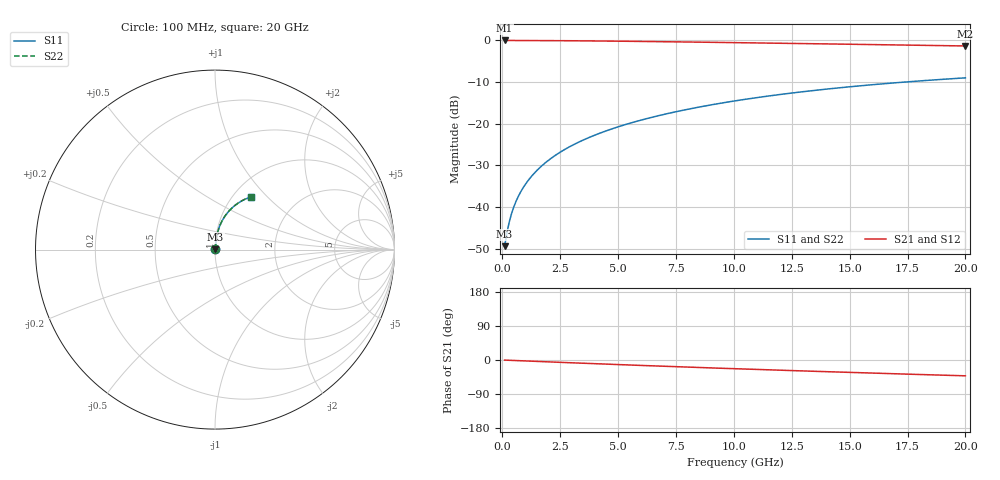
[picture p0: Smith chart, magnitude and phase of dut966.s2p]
! Touchstone file exported from HFSS 2024.1.0
!  File:  C:/UserFiles/LocalFiles/RDL_TSV_Batchsim/temp_RDL_top_966_1779938640.aedt
!  Generated:  11:26:10 AM May 28, 2026
!  Design:  RDL_top
!  Project:  temp_RDL_top_966_1779938640
!  Setup:  Setup1
!  Solution:  Sweep
! Variables:
!  dtsv = 10.80580581um
!  hbump = 3um
!  htsv = 94.21um
!  ldown = 100um
!  lrdl = 628.21um
!  p = 40
!  p1 = 42.68um
!  rhole = 1um
!  t = 450um
!  tdown = 3.915915916um
!  trdl = 4.5um
!  wdown = 15.38538539um
!  wrdl = 19.19um
# GHz S MA R 50.000000
! Terminal data exported
! Port[1] = Box2_T1
! Port[2] = Box2_T2
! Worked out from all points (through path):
!   200 points, 100 MHz to 20 GHz, reference 50 ohm
!   highest |S21| = -0.02 dB at 100 MHz (marker M1); lowest = -1.3 dB at 20 GHz (marker M2)
!   group delay of S21, straight-line fit = 5.76 ps
!   lowest |S11| = -49.4 dB at 100 MHz (marker M3), VSWR 1.01, Z = 50.3 + j0.202 ohm
!   |S11| at or under -10 dB: start of sweep to 17.4 GHz
!   |S22| runs from -49.4 to -9.0 dB; largest |S21 - S12| = 3.4e-15
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0.1  0.003386 36.4  0.9973 -0.3  0.9973 -0.3  0.003386 36.4
! Gamma 0 0 0 0
! Port Impedance 50 0 50 0
0.2  0.004887 54.3  0.9971 -0.5  0.9971 -0.5  0.004886 54.3
0.3  0.006594 62.8  0.9969 -0.8  0.9969 -0.8  0.006594 62.8
0.4  0.008335 67.5  0.9967 -1.0  0.9967 -1.0  0.008335 67.6
0.5  0.01007 70.6  0.9966 -1.3  0.9966 -1.3  0.01007 70.6
0.6  0.0118 72.9  0.9964 -1.5  0.9964 -1.5  0.0118 72.9
0.8  0.01527 75.9  0.9961 -2.0  0.9961 -2.0  0.01527 75.9
1.1  0.0205 78.6  0.9955 -2.8  0.9955 -2.8  0.0205 78.6
1.3  0.02401 79.8  0.9951 -3.2  0.9951 -3.2  0.02401 79.8
1.6  0.02932 80.9  0.9943 -4.0  0.9943 -4.0  0.02932 81.0
2.1  0.03825 82.0  0.9927 -5.2  0.9927 -5.2  0.03826 82.0
2.7  0.04909 82.5  0.9904 -6.7  0.9904 -6.7  0.04909 82.5
3.5  0.06371 82.5  0.9866 -8.6  0.9866 -8.6  0.06371 82.5
4.2  0.07665 82.1  0.9827 -10.2  0.9827 -10.2  0.07666 82.1
5  0.0916 81.4  0.9777 -12.1  0.9777 -12.1  0.09162 81.5
6.8  0.1257 79.3  0.965 -16.1  0.965 -16.1  0.1258 79.3
8.4  0.1563 76.8  0.9527 -19.6  0.9527 -19.6  0.1564 76.9
10.1  0.1887 74.0  0.9391 -23.1  0.9391 -23.1  0.1888 74.0
11.7  0.2186 71.1  0.9259 -26.3  0.9259 -26.3  0.2187 71.1
13.4  0.2494 67.9  0.9117 -29.7  0.9117 -29.7  0.2495 67.9
16.7  0.3052 61.7  0.8839 -35.9  0.8839 -35.9  0.3054 61.8
20  0.3548 55.8  0.8565 -41.8  0.8565 -41.8  0.355 55.8
